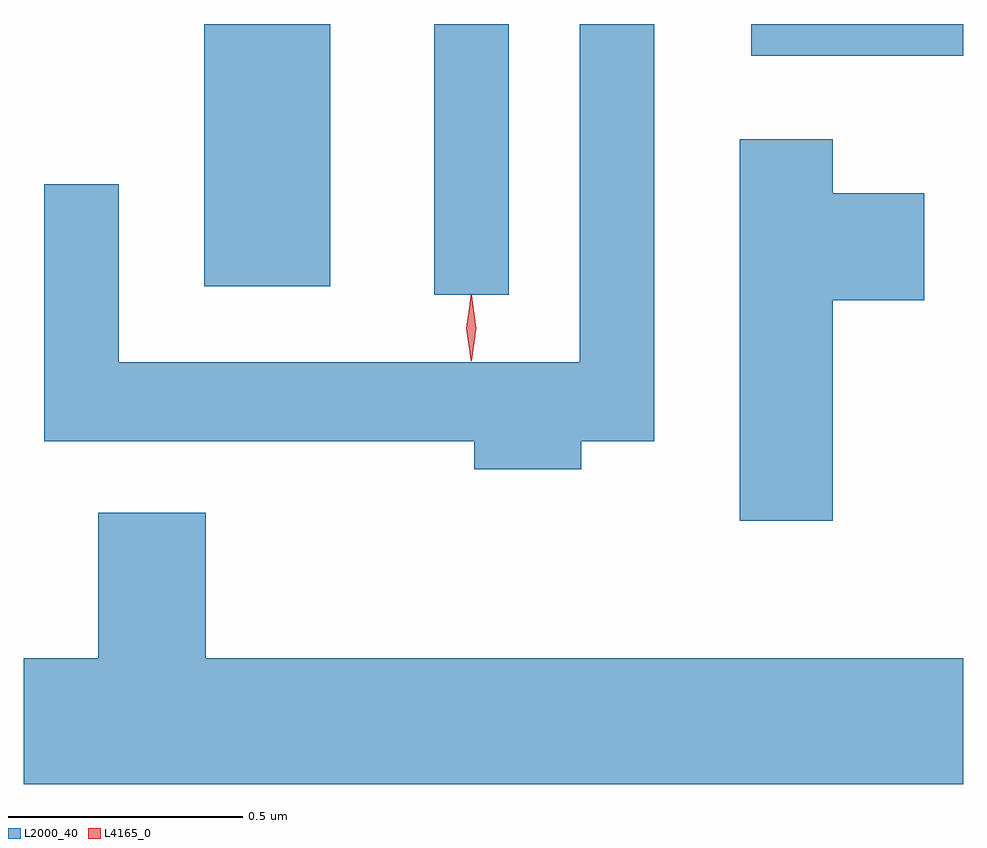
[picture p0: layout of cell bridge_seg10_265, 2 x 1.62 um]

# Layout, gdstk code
import gdstk
lib = gdstk.Library(unit=1e-6, precision=1e-09)
def R(c, l, rs):  # rectangles x0, y0, x1, y1
    for r in rs: c.add(gdstk.rectangle(r[:2], r[2:], *l))
def P(c, l, *ps):  # polygons
    for p in ps: c.add(gdstk.Polygon(p, *l))
L2000_40 = (2000, 40)
L4165_0 = (4165, 0)

bridge_seg10_265 = lib.new_cell('bridge_seg10_265')
R(bridge_seg10_265, L2000_40, [(1786.036,2099.418,1786.194,2099.994), (1785.546,2099.436,1785.814,2099.994), (1786.711,2099.926,1787.162,2099.994)])
P(bridge_seg10_265, L2000_40, [(1786.349,2099.106),(1786.504,2099.106),(1786.504,2099.994),(1786.346,2099.994),(1786.346,2099.274),(1785.364,2099.274),(1785.364,2099.653),(1785.206,2099.653),(1785.206,2099.106),(1786.121,2099.106),(1786.121,2099.046),(1786.349,2099.046)],
  [(1786.884,2099.406),(1787.079,2099.406),(1787.079,2099.634),(1786.884,2099.634),(1786.884,2099.749),(1786.686,2099.749),(1786.686,2098.936),(1786.884,2098.936)],
  [(1787.162,2098.644),(1785.549,2098.644),(1785.549,2098.954),(1785.321,2098.954),(1785.321,2098.644),(1785.162,2098.644),(1785.162,2098.376),(1787.162,2098.376)])
P(bridge_seg10_265, L4165_0, [(1786.114,2099.277),(1786.105,2099.346),(1786.114,2099.416),(1786.115,2099.416),(1786.116,2099.416),(1786.125,2099.346),(1786.116,2099.277),(1786.115,2099.277)],
  [(1786.114,2099.279),(1786.114,2099.28),(1786.104,2099.346),(1786.114,2099.412),(1786.114,2099.413),(1786.115,2099.412),(1786.124,2099.346),(1786.115,2099.28)])

lib.write_gds('bridge_seg10_265.gds')
